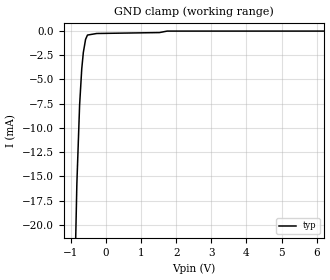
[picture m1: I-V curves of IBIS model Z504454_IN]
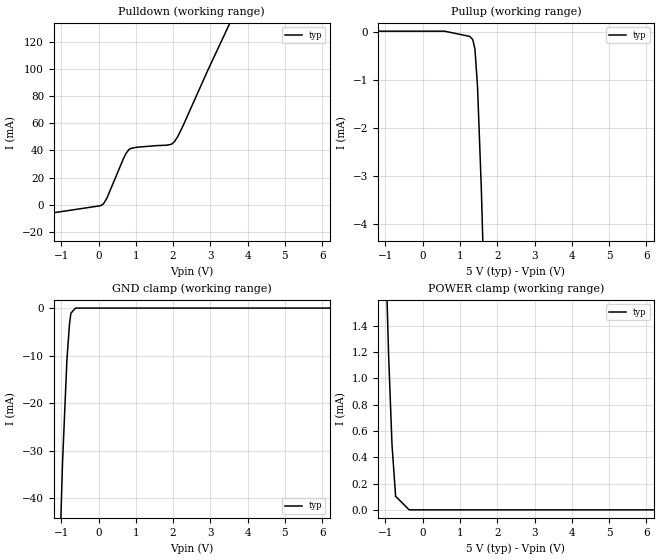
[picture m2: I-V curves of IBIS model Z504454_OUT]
| YOU ARE ONLY AUTHORIZED TO USE THIS SOFTWARE
| ACCORDING TO LICENSOR'S LICENSE RESTRICTIONS.
[IBIS Ver] 3.1
[File Name] sn54ls390j.ibs
[File Rev] 2.0
[Source] Measured and created by ICX Technology
[Date] Friday 7/14/00 9:08:15 AM
[Copyright]
| (C) COPYRIGHT 1993-2000
| MENTOR GRAPHICS CORPORATION
| ICX STANDARD LIBRARY, ICX PROJECT MODELING,
| ICX CUSTOM MODELING, ICX VENDOR MODEL
| ALL RIGHTS RESERVED.
| THE FOLLOWING ARE TRADEMARKS OR SERVICE MARKS OF
| MENTOR GRAPHICS CORPORATION:ICX (R), ICX STANDARD
| LIBRARY(R), ICX PROJECT MODELING(R), ICX CUSTOM
| MODELING(R), qualityIBIS(TM), MODELVIEWER(TM),
| AND MODELEDITOR(TM)
| ALL COPIES OF SOFTWARE, INCLUDING BUT NOT LIMITED TO
| ANY MODIFICATIONS, ENHANCEMENTS OR DERIVATIVE WORKS,
| MUST CONTAIN ALL MENTOR GRAPHICS CORPORATION'S
| NOTICES AND LEGENDS, INCLUDING THOSE EMBEDDED IN
| SOFTWARE AND THOSE AFFIXED TO SOFTWARE MEDIUM
| AND CONTAINER, AS RECEIVED FROM MENTOR GRAPHICS
| CORPORATION.
|  ZAP Model Builder 2.7
[Component] SN54LS390J
[Manufacturer] OnSemiconductor
[Package]
| variable   typ   min   max
R_pkg  .212ohms NA NA
L_pkg  4.758nH NA NA
C_pkg  1.944pF NA NA
[Pin] signal_name  model_name  R_pin  L_pin C_pin
1 _CLKA Z504454_IN .224 7.258n 2.683p
2 CLR Z504454_IN .216 5.258n 2.19p
3 QA Z504454_OUT .208 3.758n 1.697p
4 _CLKB Z504454_IN .2 2.758n 1.204p
5 QB Z504454_OUT .2 2.758n 1.204p
6 QC Z504454_OUT .208 3.758n 1.697p
7 QD Z504454_OUT .216 5.258n 2.19p
8 GND GND .224 7.258n 2.683p
9 QD Z504454_OUT .224 7.258n 2.683p
10 QC Z504454_OUT .216 5.258n 2.19p
11 QB Z504454_OUT .208 3.758n 1.697p
12 _CLKB Z504454_IN .2 2.758n 1.204p
13 QA Z504454_OUT .2 2.758n 1.204p
14 CLR Z504454_IN .208 3.758n 1.697p
15 _CLKA Z504454_IN .216 5.258n 2.19p
16 VCC POWER .224 7.258n 2.683p
| Models and submodels in the file (2): Z504454_IN (Input), Z504454_OUT (Output)
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| (C) COPYRIGHT 1993-2000
| MENTOR GRAPHICS CORPORATION
| ICX STANDARD LIBRARY, ICX PROJECT MODELING,
| ICX CUSTOM MODELING, ICX VENDOR MODEL
| ALL RIGHTS RESERVED.
| THE FOLLOWING ARE TRADEMARKS OR SERVICE MARKS OF
| MENTOR GRAPHICS CORPORATION:ICX (R), ICX STANDARD
| LIBRARY(R), ICX PROJECT MODELING(R), ICX CUSTOM
| MODELING(R), qualityIBIS(TM), MODELVIEWER(TM),
| AND MODELEDITOR(TM)
| ALL COPIES OF SOFTWARE, INCLUDING BUT NOT LIMITED TO
| ANY MODIFICATIONS, ENHANCEMENTS OR DERIVATIVE WORKS,
| MUST CONTAIN ALL MENTOR GRAPHICS CORPORATION'S
| NOTICES AND LEGENDS, INCLUDING THOSE EMBEDDED IN
| SOFTWARE AND THOSE AFFIXED TO SOFTWARE MEDIUM
| AND CONTAINER, AS RECEIVED FROM MENTOR GRAPHICS
| CORPORATION.
| Model Application Version 1.89 2/18/99.
[Model] Z504454_IN
Model_type Input
Vinl = 800.0mV
Vinh = 2.000V
C_comp 4.000pF NA NA
| variable typ   min   max
[Voltage Range] 5.000V NA NA
[GND Clamp Reference] 0.000V NA NA
[POWER Clamp Reference] 5.000V NA NA
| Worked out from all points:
|   GND clamp passes 1 mA (typ) near -0.59 V on its own axis
[GND Clamp]
-5V       -724.3mA   NA         NA
-829mV    -15.79mA   NA         NA
-751mV    -7.656mA   NA         NA
-689.9mV  -3.91mA    NA         NA
-644.5mV  -2.21mA    NA         NA
-581mV    -864uA     NA         NA
-527.3mV  -415.6uA   NA         NA
-263.7mV  -253.9uA   NA         NA
1.524V    -157.8uA   NA         NA
1.743V    -5.337uA   NA         NA
10V       -5.337uA   NA         NA
[POWER Clamp]
-5V       0A         NA         NA
10V       0A         NA         NA
| (C) COPYRIGHT 1993-2000
| MENTOR GRAPHICS CORPORATION
| ICX STANDARD LIBRARY, ICX PROJECT MODELING,
| ICX CUSTOM MODELING, ICX VENDOR MODEL
| ALL RIGHTS RESERVED.
| THE FOLLOWING ARE TRADEMARKS OR SERVICE MARKS OF
| MENTOR GRAPHICS CORPORATION:ICX (R), ICX STANDARD
| LIBRARY(R), ICX PROJECT MODELING(R), ICX CUSTOM
| MODELING(R), qualityIBIS(TM), MODELVIEWER(TM),
| AND MODELEDITOR(TM)
| ALL COPIES OF SOFTWARE, INCLUDING BUT NOT LIMITED TO
| ANY MODIFICATIONS, ENHANCEMENTS OR DERIVATIVE WORKS,
| MUST CONTAIN ALL MENTOR GRAPHICS CORPORATION'S
| NOTICES AND LEGENDS, INCLUDING THOSE EMBEDDED IN
| SOFTWARE AND THOSE AFFIXED TO SOFTWARE MEDIUM
| AND CONTAINER, AS RECEIVED FROM MENTOR GRAPHICS
| CORPORATION.
| Model Application Version 1.89 2/18/99.
[Model] Z504454_OUT
Model_type Output
Vref=5.000V
Rref=2.000kohms
Cref=15.00pF
Vmeas=1.300V
C_comp 8.000pF NA NA
| variable typ   min   max
[Voltage Range] 5.000V NA NA
[POWER Clamp Reference] 5.000V NA NA
[Pullup Reference] 5.000V NA NA
[Pulldown Reference] 0.000V NA NA
[GND Clamp Reference] 0.000V NA NA
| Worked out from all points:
|   slope of the pulldown table from 0 to 0.75 V, typ, clamps not added: 19.1 ohm
|   slope of the pullup table from 0 to 0.75 V, typ, clamps not added: 28.4 kohm
|   GND clamp passes 1 mA (typ) near -0.73 V on its own axis
|   POWER clamp passes 1 mA (typ) near -0.89 V on its own axis
[GND Clamp]
-5V       -1.316A    NA         NA
-1.123V   -73.49mA   NA         NA
-966.8mV  -32.65mA   NA         NA
-849.6mV  -11.02mA   NA         NA
-780.4mV  -3.452mA   NA         NA
-742.4mV  -1.09mA    NA         NA
-618.7mV  0A         NA         NA
10V       0A         NA         NA
[Pulldown]
-5V       -21.72mA   NA         NA
68.44mV   -545uA     NA         NA
131.7mV   560.5uA    NA         NA
224.6mV   4.817mA    NA         NA
669mV     34.04mA    NA         NA
820.5mV   40.81mA    NA         NA
1.021V    42.37mA    NA         NA
1.817V    43.87mA    NA         NA
2.033V    46.35mA    NA         NA
2.261V    57.83mA    NA         NA
2.931V    99.13mA    NA         NA
10V       514.9mA    NA         NA
[Pullup]
-5V       10.52uA    NA         NA
586mV     10.52uA    NA         NA
1.26V     -97.96uA   NA         NA
1.343V    -164.8uA   NA         NA
1.401V    -359.3uA   NA         NA
1.47V     -1.135mA   NA         NA
1.571V    -3.224mA   NA         NA
10V       -232.6mA   NA         NA
[POWER Clamp]
-5V       48.54mA    NA         NA
-1.045V   2.479mA    NA         NA
-916mV    1.181mA    NA         NA
-825mV    498.6uA    NA         NA
-728mV    103uA      NA         NA
-364mV    0A         NA         NA
10V       0A         NA         NA
[Ramp]
| variable typ min max
dV/dt_r 1.929/9.903n NA NA
dV/dt_f 1.929/2.116n NA NA
R_load = 500.0Ohms
